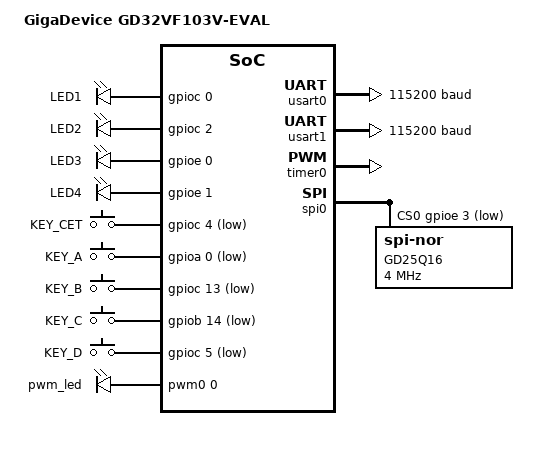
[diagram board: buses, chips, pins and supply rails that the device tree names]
/*
 * Copyright (c) 2021, Teslabs Engineering S.L.
 * SPDX-License-Identifier: Apache-2.0
 */

/dts-v1/;

#include <gigadevice/gd32vf103Xb.dtsi>
#include "gd32vf103v_eval-pinctrl.dtsi"

/ {
	model = "GigaDevice GD32VF103V-EVAL";
	compatible = "gd,gd32vf103v-eval";

	chosen {
		zephyr,sram = &sram0;
		zephyr,flash = &flash0;
		zephyr,console = &usart0;
		zephyr,shell-uart = &usart0;
	};

	leds {
		compatible = "gpio-leds";
		led1: led1 {
			gpios = <&gpioc 0 GPIO_ACTIVE_HIGH>;
			label = "LED1";
		};
		led2: led2 {
			gpios = <&gpioc 2 GPIO_ACTIVE_HIGH>;
			label = "LED2";
		};
		led3: led3 {
			gpios = <&gpioe 0 GPIO_ACTIVE_HIGH>;
			label = "LED3";
		};
		led4: led4 {
			gpios = <&gpioe 1 GPIO_ACTIVE_HIGH>;
			label = "LED4";
		};
	};

	gpio_keys {
		compatible = "gpio-keys";
		key_cet: key_cet {
			label = "KEY_CET";
			gpios = <&gpioc 4 GPIO_ACTIVE_LOW>;
		};
		key_a: key_a {
			label = "KEY_A";
			gpios = <&gpioa 0 GPIO_ACTIVE_LOW>;
		};
		key_b: key_b {
			label = "KEY_B";
			gpios = <&gpioc 13 GPIO_ACTIVE_LOW>;
		};
		key_c: key_c {
			label = "KEY_C";
			gpios = <&gpiob 14 GPIO_ACTIVE_LOW>;
		};
		key_d: key_d {
			label = "KEY_D";
			gpios = <&gpioc 5 GPIO_ACTIVE_LOW>;
		};
	};

	pwmleds {
		compatible = "pwm-leds";

		/* NOTE: bridge TIMER0_CH0 (PA8) and LED1 (PC0) */
		pwm_led: pwm_led {
			pwms = <&pwm0 0 PWM_MSEC(20) PWM_POLARITY_NORMAL>;
		};
	};

	aliases {
		led0 = &led1;
		led1 = &led2;
		sw0 = &key_cet;
		pwm-led0 = &pwm_led;
	};
};

&gpioa {
	status = "okay";
};

&gpiob {
	status = "okay";
};

&gpioc {
	status = "okay";
};

&gpioe {
	status = "okay";
};

&usart0 {
	status = "okay";
	current-speed = <115200>;
	pinctrl-0 = <&usart0_default>;
	pinctrl-names = "default";
};

&usart1 {
	status = "okay";
	current-speed = <115200>;
	pinctrl-0 = <&usart1_default>;
	pinctrl-names = "default";
};

&timer0 {
	status = "okay";
	prescaler = <128>;

	pwm0: pwm {
		status = "okay";
		pinctrl-0 = <&pwm0_default>;
		pinctrl-names = "default";
	};
};

&spi0 {
	status = "okay";
	pinctrl-0 = <&spi0_default>;
	pinctrl-names = "default";
	cs-gpios = <&gpioe 3 (GPIO_ACTIVE_LOW | GPIO_PULL_UP)>;

	nor_flash: gd25q16@0 {
		compatible ="jedec,spi-nor";
		size = <0x1000000>;
		label = "GD25Q16";
		reg = <0>;
		spi-max-frequency = <4000000>;
		status = "okay";
		jedec-id = [c8 40 15];
	};
};
